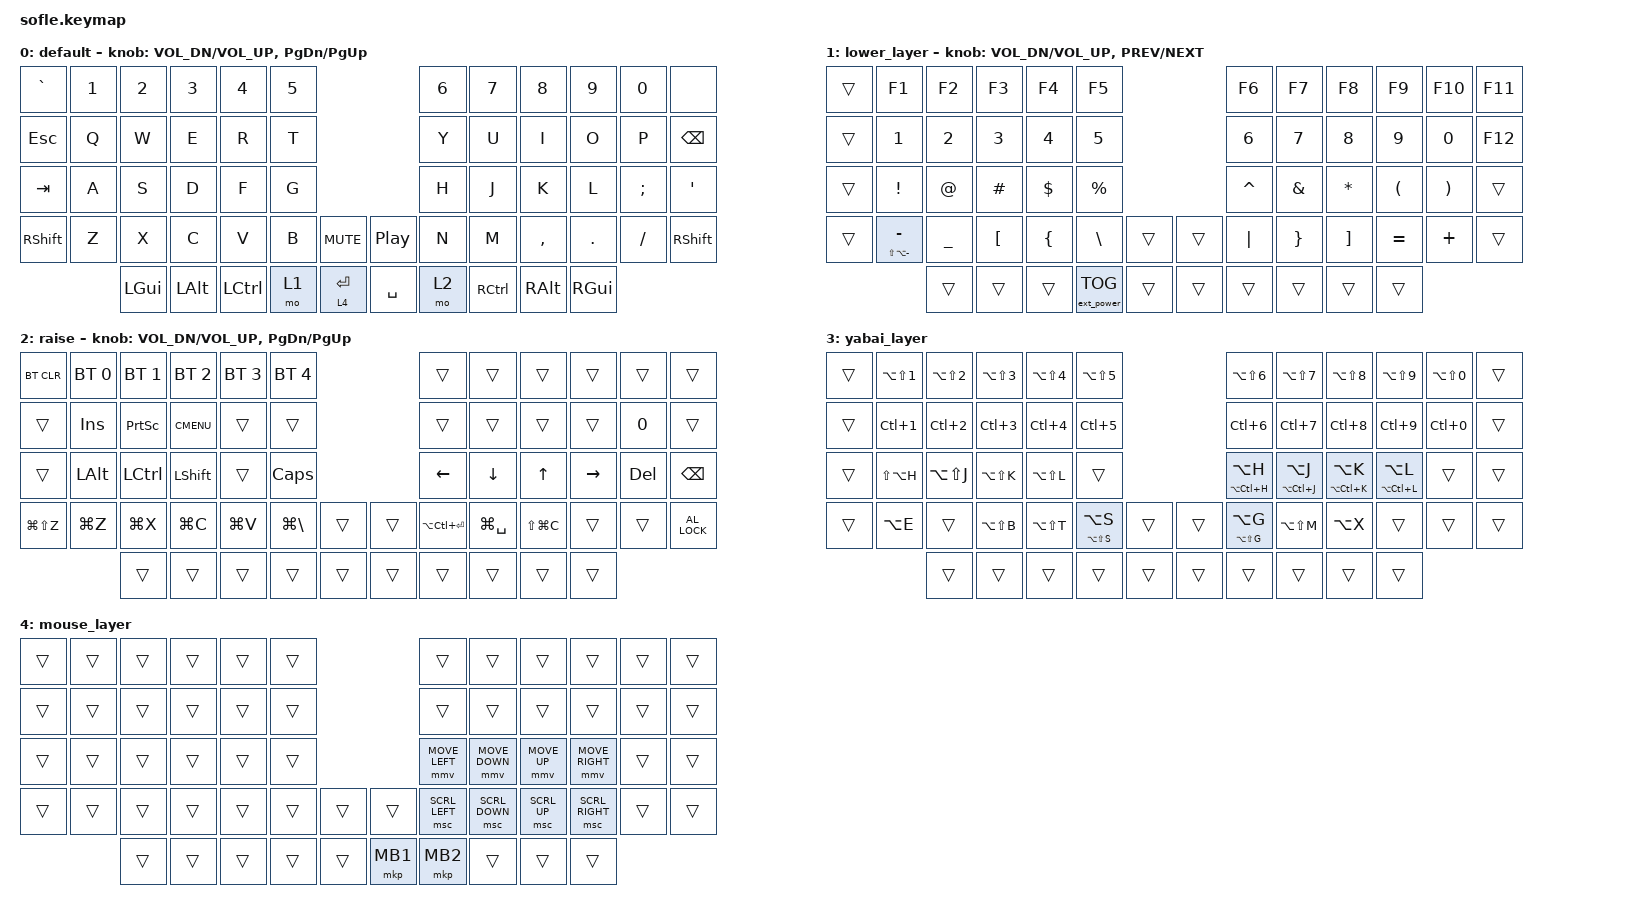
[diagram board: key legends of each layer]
#include <behaviors.dtsi>
#include <dt-bindings/zmk/bt.h>
#include <dt-bindings/zmk/ext_power.h>
#include <dt-bindings/zmk/keys.h>
#include <dt-bindings/zmk/pointing.h>

#define BASE 0
#define LOWER 1
#define RAISE 2

/ {
    combos {
        compatible = "zmk,combos";

        mouse_combo {
            bindings = <&lt 4 S>;
            key-positions = <40 26>;
        };
    };

    keymap {
        compatible = "zmk,keymap";

        default_layer {
            display-name = "default";

            // ------------------------------------------------------------------------------------------------------------
            // |   `   |  1  |  2  |  3   |  4   |  5   |                   |  6   |  7    |  8    |  9   |   0   |       |
            // |  ESC  |  Q  |  W  |  E   |  R   |  T   |                   |  Y   |  U    |  I    |  O   |   P   | BKSPC |
            // |  TAB  |  A  |  S  |  D   |  F   |  G   |                   |  H   |  J    |  K    |  L   |   ;   |   '   |
            // | SHIFT |  Z  |  X  |  C   |  V   |  B   |  MUTE  |  |       |  N   |  M    |  ,    |  .   |   /   | SHIFT |
            //               | GUI | ALT  | CTRL | LOWER|  ENTER |  | SPACE | RAISE| CTRL  | ALT   | GUI  |

            bindings = <
&kp GRAVE   &kp N1  &kp N2    &kp N3    &kp N4     &kp N5                                   &kp N6  &kp N7     &kp N8     &kp N9    &kp N0    &none
&kp ESC     &kp Q   &kp W     &kp E     &kp R      &kp T                                    &kp Y   &kp U      &kp I      &kp O     &kp P     &kp BSPC
&kp TAB     &kp A   &kp S     &kp D     &kp F      &kp G                                    &kp H   &kp J      &kp K      &kp L     &kp SEMI  &kp SQT
&kp RSHIFT  &kp Z   &kp X     &kp C     &kp V      &kp B   &kp C_MUTE     &kp C_PLAY_PAUSE  &kp N   &kp M      &kp COMMA  &kp DOT   &kp FSLH  &kp RSHIFT
                    &kp LGUI  &kp LALT  &kp LCTRL  &mo 1   &lt 4 ENTER    &kp SPACE         &mo 2   &kp RCTRL  &kp RALT   &kp RGUI
            >;

            sensor-bindings = <&inc_dec_kp C_VOL_DN C_VOL_UP &inc_dec_kp PG_DN PG_UP>;
        };

        lower_layer {
            // ------------------------------------------------------------------------------------------------------------
            // |       |  F1 |  F2 |  F3  |  F4  |  F5  |                   |  F6  |  F7   |  F8   |  F9  |  F10  |  F11  |
            // |       |   1 |   2 |   3  |   4  |   5  |                   |   6  |   7   |   8   |   9  |    0  |  F12  |
            // |       |  !  |  @  |  #   |  $   |  %   |                   |  ^   |  &    |  *    |  (   |   )   |       |
            // |       |  -  |  _  |  [   |  {   |  \   |        |  |       |  |   |  }    |  ]    |  =   |   +   |       |
            //               |     |      |      |      |        |  |       |      |       |       |      |

            bindings = <
&trans  &kp F1                   &kp F2     &kp F3    &kp F4    &kp F5                               &kp F6     &kp F7    &kp F8     &kp F9     &kp F10   &kp F11
&trans  &kp N1                   &kp N2     &kp N3    &kp N4    &kp N5                               &kp N6     &kp N7    &kp N8     &kp N9     &kp N0    &kp F12
&trans  &kp EXCL                 &kp AT     &kp HASH  &kp DLLR  &kp PRCNT                            &kp CARET  &kp AMPS  &kp ASTRK  &kp LPAR   &kp RPAR  &trans
&trans  &mt LS(LA(MINUS)) MINUS  &kp UNDER  &kp LBKT  &kp LBRC  &kp BSLH           &trans    &trans  &kp PIPE   &kp RBRC  &kp RBKT   &kp EQUAL  &kp PLUS  &trans
                                 &trans     &trans    &trans    &ext_power EP_TOG  &trans    &trans  &trans     &trans    &trans     &trans
            >;

            sensor-bindings =
                <&inc_dec_kp C_VOL_DN C_VOL_UP>,
                <&inc_dec_kp K_PREV K_NEXT>;
        };

        raise_layer {
            display-name = "raise";

            // ------------------------------------------------------------------------------------------------------------
            // | BTCLR | BT1  | BT2  |  BT3  |  BT4  |  BT5 |                |      |      |       |      |       |       |
            // |       | INS  | PSCR | GUI   |       |      |                | PGUP |      |   ^   |      |       |       |
            // |       | ALT  | CTRL | SHIFT |       | CAPS |                | PGDN |   <- |   v   |  ->  |  DEL  | BKSPC |
            // |       | UNDO | CUT  | COPY  | PASTE |      |      |  |      |      |      |       |      |       |       |
            //                |      |       |       |      |      |  |      |      |      |       |      |

            bindings = <
&bt BT_CLR     &bt BT_SEL 0  &bt BT_SEL 1  &bt BT_SEL 2  &bt BT_SEL 3  &bt BT_SEL 4                         &trans             &trans          &trans         &trans     &trans   &trans
&trans         &kp INS       &kp PSCRN     &kp K_CMENU   &trans        &trans                               &trans             &trans          &trans         &trans     &kp N0   &trans
&trans         &kp LALT      &kp LCTRL     &kp LSHFT     &trans        &kp CLCK                             &kp LEFT_ARROW     &kp DOWN_ARROW  &kp UP_ARROW   &kp RIGHT  &kp DEL  &kp BSPC
&kp LG(LS(Z))  &kp LG(Z)     &kp LG(X)     &kp LG(C)     &kp LG(V)     &kp LG(BACKSLASH)  &trans    &trans  &kp LA(LC(ENTER))  &kp LG(SPACE)   &kp LS(LG(C))  &trans     &trans   &kp C_AL_LOCK
                             &trans        &trans        &trans        &trans             &trans    &trans  &trans             &trans          &trans         &trans
            >;

            sensor-bindings = <&inc_dec_kp C_VOL_DN C_VOL_UP &inc_dec_kp PG_DN PG_UP>;
        };

        yabai_layer {
            bindings = <
&trans  &kp LA(LS(NUMBER_1))  &kp LA(LS(NUMBER_2))  &kp LA(LS(NUMBER_3))  &kp LA(LS(NUMBER_4))  &kp LA(LS(NUMBER_5))                    &kp LA(LS(NUMBER_6))  &kp LA(LS(NUMBER_7))  &kp LA(LS(NUMBER_8))  &kp LA(LS(NUMBER_9))  &kp LA(LS(NUMBER_0))  &trans
&trans  &kp LC(NUMBER_1)      &kp LC(NUMBER_2)      &kp LC(NUMBER_3)      &kp LC(NUMBER_4)      &kp LC(NUMBER_5)                        &kp LC(NUMBER_6)      &kp LC(NUMBER_7)      &kp LC(NUMBER_8)      &kp LC(NUMBER_9)      &kp LC(NUMBER_0)      &trans
&trans  &kp LS(LA(H))         &kp LA(LS(J))         &kp LA(LS(K))         &kp LA(LS(L))         &trans                                  &mt LA(LC(H)) LA(H)   &mt LA(LC(J)) LA(J)   &mt LA(LC(K)) LA(K)   &mt LA(LC(L)) LA(L)   &trans                &trans
&trans  &kp LA(E)             &trans                &kp LA(LS(B))         &kp LA(LS(T))         &mt LA(LS(S)) LA(S)   &trans    &trans  &mt LA(LS(G)) LA(G)   &kp LA(LS(M))         &kp LA(X)             &trans                &trans                &trans
                              &trans                &trans                &trans                &trans                &trans    &trans  &trans                &trans                &trans                &trans
            >;
        };

        mouse_layer {
            bindings = <
&trans  &trans  &trans  &trans  &trans  &trans                      &trans          &trans          &trans        &trans           &trans  &trans
&trans  &trans  &trans  &trans  &trans  &trans                      &trans          &trans          &trans        &trans           &trans  &trans
&trans  &trans  &trans  &trans  &trans  &trans                      &mmv MOVE_LEFT  &mmv MOVE_DOWN  &mmv MOVE_UP  &mmv MOVE_RIGHT  &trans  &trans
&trans  &trans  &trans  &trans  &trans  &trans  &trans    &trans    &msc SCRL_LEFT  &msc SCRL_DOWN  &msc SCRL_UP  &msc SCRL_RIGHT  &trans  &trans
                &trans  &trans  &trans  &trans  &trans    &mkp MB1  &mkp MB2        &trans          &trans        &trans
            >;
        };
    };

    conditional_layers {
        compatible = "zmk,conditional-layers";

        yabai {
            if-layers = <1 2>;
            then-layer = <3>;
        };
    };
};
